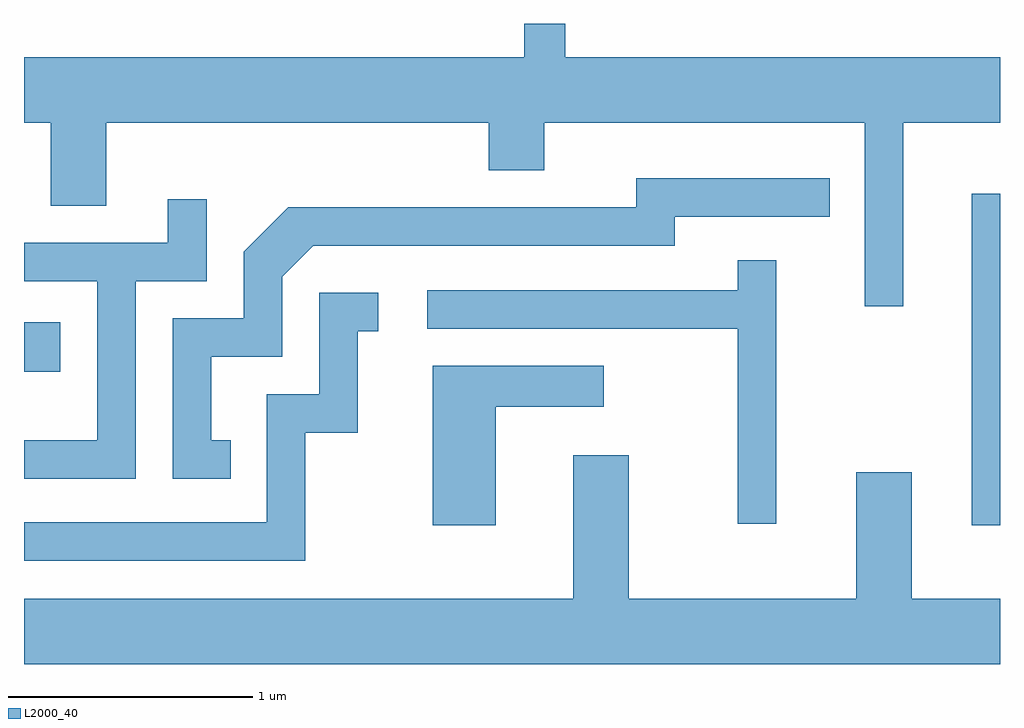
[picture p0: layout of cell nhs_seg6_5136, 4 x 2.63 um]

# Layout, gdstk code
import gdstk
lib = gdstk.Library(unit=1e-6, precision=1e-09)
def R(c, l, rs):  # rectangles x0, y0, x1, y1
    for r in rs: c.add(gdstk.rectangle(r[:2], r[2:], *l))
def P(c, l, *ps):  # polygons
    for p in ps: c.add(gdstk.Polygon(p, *l))
L2000_40 = (2000, 40)

nhs_seg6_5136 = lib.new_cell('nhs_seg6_5136')
R(nhs_seg6_5136, L2000_40, [(345.496,1606.106,345.611,1607.464), (341.611,1606.736,341.759,1606.939)])
P(nhs_seg6_5136, L2000_40, [(345.214,1607.756),(345.611,1607.756),(345.611,1608.024),(343.829,1608.024),(343.829,1608.162),(343.661,1608.162),(343.661,1608.024),(341.611,1608.024),(341.611,1607.756),(341.721,1607.756),(341.721,1607.416),(341.949,1607.416),(341.949,1607.756),(343.516,1607.756),(343.516,1607.561),(343.744,1607.561),(343.744,1607.756),(345.056,1607.756),(345.056,1607.003),(345.214,1607.003)],
  [(342.458,1606.454),(342.379,1606.454),(342.379,1606.796),(342.669,1606.796),(342.669,1607.124),(342.797,1607.251),(344.279,1607.251),(344.279,1607.371),(344.913,1607.371),(344.913,1607.529),(344.121,1607.529),(344.121,1607.409),(342.694,1607.409),(342.511,1607.227),(342.511,1606.954),(342.221,1606.954),(342.221,1606.296),(342.458,1606.296)],
  [(342.069,1607.106),(342.359,1607.106),(342.359,1607.443),(342.201,1607.443),(342.201,1607.264),(341.611,1607.264),(341.611,1607.106),(341.911,1607.106),(341.911,1606.454),(341.611,1606.454),(341.611,1606.296),(342.069,1606.296)],
  [(344.694,1607.193),(344.536,1607.193),(344.536,1607.069),(343.263,1607.069),(343.263,1606.911),(344.536,1606.911),(344.536,1606.113),(344.694,1606.113)],
  [(342.764,1606.486),(342.979,1606.486),(342.979,1606.901),(343.063,1606.901),(343.063,1607.059),(342.821,1607.059),(342.821,1606.644),(342.606,1606.644),(342.606,1606.119),(341.611,1606.119),(341.611,1605.961),(342.764,1605.961)],
  [(343.544,1606.591),(343.988,1606.591),(343.988,1606.759),(343.286,1606.759),(343.286,1606.106),(343.544,1606.106)],
  [(345.611,1605.804),(345.249,1605.804),(345.249,1606.324),(345.021,1606.324),(345.021,1605.804),(344.089,1605.804),(344.089,1606.394),(343.861,1606.394),(343.861,1605.804),(341.611,1605.804),(341.611,1605.536),(345.611,1605.536)])

lib.write_gds('nhs_seg6_5136.gds')
